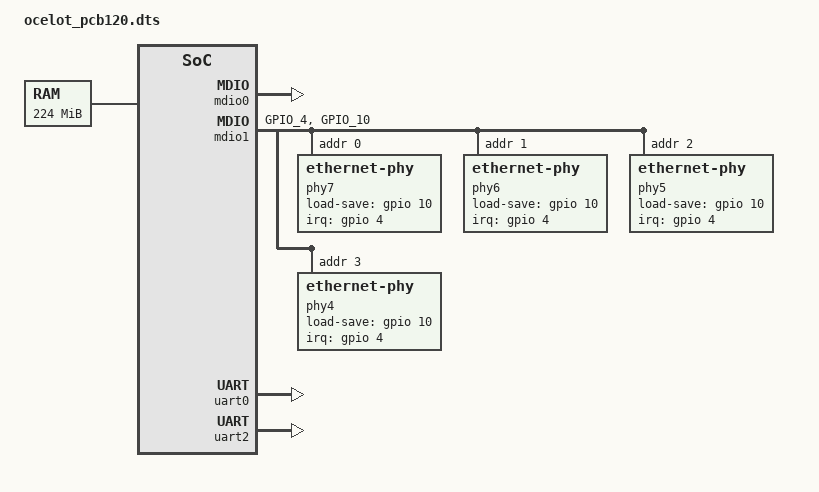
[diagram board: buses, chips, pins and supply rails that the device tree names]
// SPDX-License-Identifier: (GPL-2.0 OR MIT)
/* Copyright (c) 2017 Microsemi Corporation */

/dts-v1/;

#include <dt-bindings/gpio/gpio.h>
#include <dt-bindings/interrupt-controller/irq.h>
#include <dt-bindings/phy/phy-ocelot-serdes.h>
#include "ocelot.dtsi"

/ {
	compatible = "mscc,ocelot-pcb120", "mscc,ocelot";

	chosen {
		stdout-path = "serial0:115200n8";
	};

	memory@0 {
		device_type = "memory";
		reg = <0x0 0x0e000000>;
	};
};

&gpio {
	phy_int_pins: phy_int_pins {
		pins = "GPIO_4";
		function = "gpio";
	};

	phy_load_save_pins: phy_load_save_pins {
		pins = "GPIO_10";
		function = "ptp2";
	};
};

&mdio0 {
	status = "okay";
};

&mdio1 {
	status = "okay";
	pinctrl-names = "default";
	pinctrl-0 = <&miim1>, <&phy_int_pins>, <&phy_load_save_pins>;

	phy7: ethernet-phy@0 {
		reg = <0>;
		interrupts = <4 IRQ_TYPE_LEVEL_HIGH>;
		interrupt-parent = <&gpio>;
		load-save-gpios = <&gpio 10 GPIO_ACTIVE_HIGH>;
	};
	phy6: ethernet-phy@1 {
		reg = <1>;
		interrupts = <4 IRQ_TYPE_LEVEL_HIGH>;
		interrupt-parent = <&gpio>;
		load-save-gpios = <&gpio 10 GPIO_ACTIVE_HIGH>;
	};
	phy5: ethernet-phy@2 {
		reg = <2>;
		interrupts = <4 IRQ_TYPE_LEVEL_HIGH>;
		interrupt-parent = <&gpio>;
		load-save-gpios = <&gpio 10 GPIO_ACTIVE_HIGH>;
	};
	phy4: ethernet-phy@3 {
		reg = <3>;
		interrupts = <4 IRQ_TYPE_LEVEL_HIGH>;
		interrupt-parent = <&gpio>;
		load-save-gpios = <&gpio 10 GPIO_ACTIVE_HIGH>;
	};
};

&port0 {
	status = "okay";
	phy-handle = <&phy0>;
	phy-mode = "internal";
};

&port1 {
	status = "okay";
	phy-handle = <&phy1>;
	phy-mode = "internal";
};

&port2 {
	status = "okay";
	phy-handle = <&phy2>;
	phy-mode = "internal";
};

&port3 {
	status = "okay";
	phy-handle = <&phy3>;
	phy-mode = "internal";
};

&port4 {
	status = "okay";
	phy-handle = <&phy7>;
	phy-mode = "sgmii";
	phys = <&serdes 4 SERDES1G(2)>;
};

&port5 {
	status = "okay";
	phy-handle = <&phy4>;
	phy-mode = "sgmii";
	phys = <&serdes 5 SERDES1G(5)>;
};

&port6 {
	status = "okay";
	phy-handle = <&phy6>;
	phy-mode = "sgmii";
	phys = <&serdes 6 SERDES1G(3)>;
};

&port9 {
	status = "okay";
	phy-handle = <&phy5>;
	phy-mode = "sgmii";
	phys = <&serdes 9 SERDES1G(4)>;
};

&uart0 {
	status = "okay";
};

&uart2 {
	status = "okay";
};
